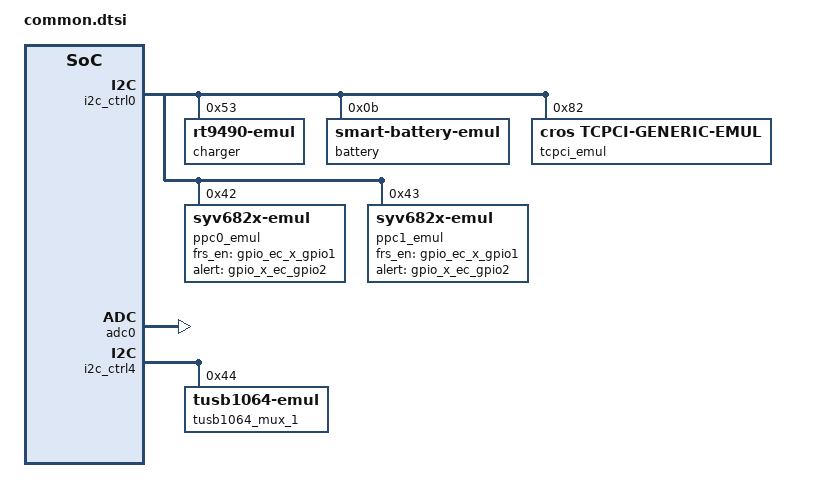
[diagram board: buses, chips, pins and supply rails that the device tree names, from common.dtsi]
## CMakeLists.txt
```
# Copyright 2022 The ChromiumOS Authors
# Use of this source code is governed by a BSD-style license that can be
# found in the LICENSE file.

cmake_minimum_required(VERSION 3.13.1)
find_package(Zephyr REQUIRED HINTS "${ZEPHYR_BASE}")
project(krabby)

add_subdirectory(${PLATFORM_EC}/zephyr/test/test_utils test_utils)

zephyr_include_directories(
	"${PLATFORM_EC_PROGRAM_DIR}/corsola/include"
	include)

target_sources(app PRIVATE
	src/stubs.c
	${PLATFORM_EC_PROGRAM_DIR}/corsola/src/ite_usbc.c
	${PLATFORM_EC_PROGRAM_DIR}/corsola/src/ite_usb_pd_policy.c
	${PLATFORM_EC_PROGRAM_DIR}/corsola/src/usb_pd_policy.c)

target_sources_ifdef(CONFIG_TEST_KRABBY
	app PRIVATE
	src/charger_workaround.c
	src/main.c
	src/power_seq.c
	src/usb_mux_init.c
	src/usbc_config.c
	${PLATFORM_EC_PROGRAM_DIR}/corsola/src/ite_charger_workaround.c)

target_sources_ifdef(CONFIG_TEST_TENTACRUEL
	app PRIVATE
	src/fake.c
	src/ppc_tentacruel.c
	src/temp_tentacruel.c
	src/fwconfig_tentacruel.c
	src/usb_mux_tentacruel.c
	${PLATFORM_EC_PROGRAM_DIR}/corsola/tentacruel/src/ppc.c
	${PLATFORM_EC_PROGRAM_DIR}/corsola/tentacruel/src/temp.c
	${PLATFORM_EC_PROGRAM_DIR}/corsola/tentacruel/src/sensor.c)

target_sources_ifdef(CONFIG_TEST_STARMIE
	app PRIVATE
	src/main.c
	src/power_seq.c
	src/temp_starmie.c
	${PLATFORM_EC_PROGRAM_DIR}/corsola/starmie/src/thermal.c
)

target_sources_ifdef(CONFIG_TEST_CHINCHOU
	app PRIVATE
	src/board_chinchou.c
	src/temp_chinchou.c
	${PLATFORM_EC_PROGRAM_DIR}/corsola/chinchou/src/board.c
	${PLATFORM_EC_PROGRAM_DIR}/corsola/chinchou/src/thermal.c
)

target_sources_ifdef(CONFIG_TEST_WUGTRIO
	app PRIVATE
	src/ppc_wugtrio.c
	src/base_detect.c
	src/motionsense_wugtrio.c
	src/temp_wugtrio.c
	${PLATFORM_EC_PROGRAM_DIR}/corsola/wugtrio/src/ppc.c
	${PLATFORM_EC_PROGRAM_DIR}/corsola/wugtrio/src/base_detect.c
	${PLATFORM_EC_PROGRAM_DIR}/corsola/wugtrio/src/alt_motionsense.c
	${PLATFORM_EC_PROGRAM_DIR}/corsola/wugtrio/src/thermal.c)

target_sources_ifdef(CONFIG_TEST_SKITTY
	app PRIVATE
	src/fake.c
	src/ppc_skitty.c
	src/temp_skitty.c
	src/led_skitty.c
	${PLATFORM_EC_PROGRAM_DIR}/corsola/skitty/src/ppc.c
	${PLATFORM_EC_PROGRAM_DIR}/corsola/skitty/src/temp.c
	${PLATFORM_EC_PROGRAM_DIR}/corsola/skitty/src/led.c)

target_sources_ifdef(CONFIG_TEST_VELUZA
	app PRIVATE
	src/fake_veluza.c
	src/ppc_veluza.c
	src/temp_veluza.c
	src/sensor_veluza.c
	${PLATFORM_EC_PROGRAM_DIR}/corsola/veluza/src/ppc.c
	${PLATFORM_EC_PROGRAM_DIR}/corsola/veluza/src/temp.c
	${PLATFORM_EC_PROGRAM_DIR}/corsola/veluza/src/sensor.c)
```

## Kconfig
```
# Copyright 2022 The ChromiumOS Authors
# Use of this source code is governed by a BSD-style license that can be
# found in the LICENSE file.

config MUX_INIT_ADC
	bool "Run the tests intended for usb_nux_init adc"
	help
	  Include stubs.c with const struct adc_t adc_channels[] function
	  into the binary to test.

choice
	prompt "select the test suite"

config TEST_KRABBY
	bool "Run the tests intended for krabby"
	help
	  Run the tests for krabby common code.

config TEST_TENTACRUEL
	bool "Run the tests intended for tentacruel"
	help
	  Include temp_tentacruel test into the binary to test temperature
	  threshold trigger current control.

config TEST_STARMIE
	bool "Run the tests intended for starmie"
	help
	  Include temp_starmie test into the binary to test temperature
	  threshold trigger current control.

config TEST_CHINCHOU
	bool "Run the tests intended for chincou"
	help
	  Include board_chinchou test into the binary to test distinguish
	  between clamshell and convertible.

config TEST_WUGTRIO
	bool "Run the tests intended for wugtrio"
	help
	  Include board_wugtrio test into the binary to test alt_motionsense.c
	  base_detect.c and ppc.c code.

config TEST_DISABLE_INLINE_CHIPSET_IN_STATE
	bool "Disable chipset_in_state inline method"
	help
	  This is used to not define chipset_in_state method as inline
	  function.

config TEST_SKITTY
	bool "Run the tests intended for skitty"
	help
	  Include skitty test into the binary to test temperature
	  threshold trigger current control.

config TEST_VELUZA
	bool "Run the tests intended for veluza"
	help
	  Include veluza test into the binary to test temperature
	  threshold trigger current control.

endchoice

source "Kconfig.zephyr"
```

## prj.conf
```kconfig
# Copyright 2022 The ChromiumOS Authors
# Use of this source code is governed by a BSD-style license that can be
# found in the LICENSE file.

CONFIG_ZTEST=y
CONFIG_ZTEST_ASSERT_VERBOSE=1
CONFIG_ZTEST_NEW_API=y

# Match emul init priority
CONFIG_I2C_INIT_PRIORITY=1
CONFIG_GPIO_INIT_PRIORITY=1

CONFIG_ASSERT=y
CONFIG_ADC=y
CONFIG_CROS_EC=y
CONFIG_EMUL=y

CONFIG_SHIMMED_TASKS=n

CONFIG_PLATFORM_EC=y
CONFIG_PLATFORM_EC_BACKLIGHT_LID=n
CONFIG_PLATFORM_EC_BATTERY_FUEL_GAUGE=y
CONFIG_PLATFORM_EC_CHARGER=y
CONFIG_PLATFORM_EC_CHARGER_SENSE_RESISTOR=10
CONFIG_PLATFORM_EC_CHARGER_SENSE_RESISTOR_AC=20
CONFIG_PLATFORM_EC_CHARGE_MANAGER=y
CONFIG_PLATFORM_EC_CHARGE_RAMP_HW=y
CONFIG_PLATFORM_EC_GPIO_INIT_PRIORITY=49
CONFIG_PLATFORM_EC_HOOKS=y
CONFIG_PLATFORM_EC_HOSTCMD=y
CONFIG_PLATFORM_EC_LID_SWITCH=y
CONFIG_PLATFORM_EC_POWERSEQ_HOST_SLEEP=y
CONFIG_PLATFORM_EC_POWER_BUTTON=y
CONFIG_PLATFORM_EC_POWER_SLEEP_FAILURE_DETECTION=y
CONFIG_PLATFORM_EC_SWITCH=n
CONFIG_PLATFORM_EC_USBC=y
CONFIG_PLATFORM_EC_USB_CHARGER=y
CONFIG_PLATFORM_EC_USB_DRP_ACC_TRYSRC=y
CONFIG_PLATFORM_EC_USB_MUX_TUSB546=y
CONFIG_PLATFORM_EC_USB_PD_DISCHARGE=y
CONFIG_PLATFORM_EC_USB_PD_DISCHARGE_PPC=y
CONFIG_PLATFORM_EC_USB_PD_VBUS_MEASURE_ADC_EACH_PORT=y
CONFIG_PLATFORM_EC_USB_POWER_DELIVERY=y
CONFIG_PLATFORM_EC_VBOOT_HASH=n

CONFIG_PLATFORM_EC_USBC_PPC=y

CONFIG_NATIVE_UART_0_ON_STDINOUT=y
```

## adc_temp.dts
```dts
<<<<<<< HEAD   (c8af73 Revert "Merge remote-tracking branch cros/main into factory-)
/* Copyright 2022 The ChromiumOS Authors
 * Use of this source code is governed by a BSD-style license that can be
 * found in the LICENSE file.
 */

#include <cros/thermistor/thermistor.dtsi>

/ {
	adc0: adc {
		compatible = "zephyr,adc-emul";
		nchannels = <1>;
		ref-internal-mv = <3300>;
		#io-channel-cells = <1>;
		status = "okay";
	};

	named-adc-channels {
		compatible = "named-adc-channels";

		adc_charger: charger {
		enum-name = "ADC_TEMP_SENSOR_CHARGER";
		io-channels = <&adc0 0>;
		};
	};

	name_temp_charger: charger {
	compatible = "cros-ec,temp-sensor-thermistor";

	thermistor = <&thermistor_rt9490>;
	adc = <&adc_charger>;
	};

	named-temp-sensors {
		compatible = "cros-ec,temp-sensors";
		temp_charger: charger {
			status = "okay";
			sensor = <&name_temp_charger>;
		};
	};
};
=======
>>>>>>> BRANCH (2c3025 PCHG: Print next event in pchg console command)
```

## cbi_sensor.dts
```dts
/* Copyright 2022 The ChromiumOS Authors
 * Use of this source code is governed by a BSD-style license that can be
 * found in the LICENSE file.
 */


/ {
	aliases {
		/*
		 * motion sense's <>_INT_EVENT is handled
		 * by alias. Using the alias, each driver creates
		 * its own <>_INT_EVENT.
		 */
		bmi3xx-int = &base_accel;
		bma4xx-int = &lid_accel;
	};
	named-i2c-ports {
	    compatible = "named-i2c-ports";

	    i2c_sensor: i2c-sensor {
		    i2c-port = <&i2c_ctrl0>;
		    enum-names = "I2C_PORT_SENSOR";
	    };
	    i2c_eeprom: i2c-eeprom {
		    i2c-port = <&i2c_ctrl0>;
		    enum-names = "I2C_PORT_EEPROM";
	    };
	};
	gpio-interrupts {
		int_base_imu: base_imu {
			handler = "base_sensor_interrupt";
		};

		int_lid_imu: lid_imu {
			handler = "lid_sensor_interrupt";
		};
	};
	/*
	 * change all underlying sensor drivers to bmi260 to have a easier way
	 * to mock interrupt handlers.
	 */
	motionsense-sensor-data {
		bmi323_data: bmi323-drv-data {
			compatible = "cros-ec,drvdata-bmi260";
			status = "okay";
		};

		bma422_data: bma422-drv-data {
			compatible = "cros-ec,drvdata-bmi260";
			status = "okay";
		};
	};

	motionsense-sensor-alt {
		alt_lid_accel: alt-lid-accel {
			compatible = "cros-ec,bmi260-accel";
			status = "okay";

			active-mask = "SENSOR_ACTIVE_S0_S3";
			location = "MOTIONSENSE_LOC_LID";
			port = <&i2c_sensor>;
			drv-data = <&bma422_data>;
			alternate-for = <&lid_accel>;
			mutex = <&lid_mutex>;
		};

		alt_base_accel: alt-base-accel {
			compatible = "cros-ec,bmi260-accel";
			status = "okay";

			active-mask = "SENSOR_ACTIVE_S0_S3";
			location = "MOTIONSENSE_LOC_BASE";
			port = <&i2c_sensor>;
			drv-data = <&bmi323_data>;
			alternate-for = <&base_accel>;
			mutex = <&base_mutex>;
		};

		alt_base_gyro: alt-base-gyro {
			compatible = "cros-ec,bmi260-gyro";
			status = "okay";

			active-mask = "SENSOR_ACTIVE_S0_S3";
			location = "MOTIONSENSE_LOC_BASE";
			port = <&i2c_sensor>;
			drv-data = <&bmi323_data>;
			alternate-for = <&base_gyro>;
			mutex = <&base_mutex>;
		};
	};
};

&i2c_ctrl0 {
	status="okay";

	cbi_eeprom: eeprom@50 {
		compatible = "atmel,at24";
		reg = <0x50>;
		size = <2048>;
		pagesize = <16>;
		address-width = <8>;
		timeout = <5>;
	};
};


&lid_accel {
	compatible = "cros-ec,bmi260-accel";
};

&base_accel {
	compatible = "cros-ec,bmi260-accel";
};

&base_gyro {
	compatible = "cros-ec,bmi260-gyro";
};

&icm42607_data {
	compatible = "cros-ec,drvdata-bmi260";
};

&lis2dw12_data {
	compatible = "cros-ec,drvdata-bmi260";
};
```

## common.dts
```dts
<<<<<<< HEAD   (c8af73 Revert "Merge remote-tracking branch cros/main into factory-)
/* Copyright 2022 The ChromiumOS Authors
 * Use of this source code is governed by a BSD-style license that can be
 * found in the LICENSE file.
 */

#include <it8xxx2_emul.dts>

/ {
	pinctrl: pinctrl {
		compatible = "ite,it8xxx2-pinctrl";
		status = "disabled";
	};

	named-i2c-ports {
		compatible = "named-i2c-ports";

		i2c_charger: charger {
			i2c-port = <&i2c_ctrl0>;
			enum-names = "I2C_PORT_CHARGER",
				"I2C_PORT_BATTERY";
		};
	};

	usbc {
		#address-cells = <1>;
		#size-cells = <0>;

		port0@0 {
			compatible = "named-usbc-port";
			status = "okay";
			reg = <0>;
			chg = <&charger>;
			tcpc = <&tcpci_emul>;
		};

		port1@1 {
			compatible = "named-usbc-port";
			status = "okay";
			reg = <1>;
			usb-mux-chain-1 {
				compatible = "cros-ec,usb-mux-chain";
				usb-muxes = <&tusb1064_mux_1>;
			};
		};
	};

	batteries {
		default_battery: lgc_ac17a8m {
			compatible = "lgc,ac17a8m", "battery-smart";
		};
	};
};

&i2c_ctrl0 {
	status="okay";

	charger: rt9490@53 {
		compatible = "zephyr,rt9490-emul";
		status = "okay";
		reg = <0x53>;
	};

	battery: sb@b {
		compatible = "zephyr,smart-battery";
		reg = <0xb>;
		cycle-count = <99>;
		version = "BATTERY_SPEC_VER_1_1_WITH_PEC";
		/* Real battery voltages are multiples of 4.4V. */
		desired-charg-volt = <5000>;
		desired-charg-cur = <1000>;
		mf-name = "LGC";
		dev-name = "AC17A8M";
	};

	tcpci_emul: tcpci_emul@82 {
		compatible = "cros,tcpci-generic-emul";
		status = "okay";
		reg = <0x82>;
	};
};

&i2c_ctrl4 {
	status="okay";

	tusb1064_mux_1: tusb1064-mux-1@44 {
		compatible = "zephyr,tusb1064-emul";
		reg = <0x44>;
		board-init = "tusb1064_mux_1_board_init";
	};
};
=======
>>>>>>> BRANCH (2c3025 PCHG: Print next event in pchg console command)
```

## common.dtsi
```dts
/* Copyright 2022 The ChromiumOS Authors
 * Use of this source code is governed by a BSD-style license that can be
 * found in the LICENSE file.
 */

#include <it8xxx2_emul.dts>

/ {
	pinctrl: pinctrl {
		compatible = "ite,it8xxx2-pinctrl";
		status = "disabled";
	};

	named-i2c-ports {
		compatible = "named-i2c-ports";

		i2c_charger: charger {
			i2c-port = <&i2c_ctrl0>;
			enum-names = "I2C_PORT_CHARGER",
				"I2C_PORT_BATTERY";
		};
	};

	usbc {
		#address-cells = <1>;
		#size-cells = <0>;

		port0@0 {
			compatible = "named-usbc-port";
			status = "okay";
			reg = <0>;
			chg = <&charger>;
			tcpc = <&tcpci_emul>;
			ppc = <&ppc0_emul>;
			usb-mux-chain-0 {
				compatible = "cros-ec,usb-mux-chain";
				usb-muxes = <&virtual_mux_0>;
			};
		};
		port0-muxes {
			virtual_mux_0: virtual-mux-0 {
				compatible = "cros-ec,usbc-mux-virtual";
			};
		};

		port1@1 {
			compatible = "named-usbc-port";
			status = "okay";
			reg = <1>;
			tcpc = <&tcpci_emul>;
			ppc = <&ppc1_emul>;
			usb-mux-chain-1 {
				compatible = "cros-ec,usb-mux-chain";
				usb-muxes = <&tusb1064_mux_1>;
			};
		};
		port1-muxes {
			virtual_mux_1: virtual-mux-1 {
				compatible = "cros-ec,usbc-mux-virtual";
			};
		};
	};

	batteries {
		default_battery: lgc_ac17a8m {
			compatible = "lgc,ac17a8m", "battery-smart";
			/**
			 * this has to be strictly lower than the desired
			 * voltage in smart battery emulator (5000mV).
			 */
			voltage_min = <4000>;
		};
	};

	named-adc-channels {
		compatible = "named-adc-channels";

		adc_vbus_c0 {
			enum-name = "ADC_VBUS_C0";
			io-channels = <&adc0 0>;
			mul = <10>;
		};
		adc_board_id0 {
			enum-name = "ADC_BOARD_ID_0";
			io-channels = <&adc0 1>;
		};
		adc_board_id1 {
			enum-name = "ADC_BOARD_ID_1";
			io-channels = <&adc0 2>;
		};
		adc_vbus_c1 {
			enum-name = "ADC_VBUS_C1";
			io-channels = <&adc0 7>;
			mul = <10>;
		};
		adc_charger: charger {
			enum-name = "ADC_TEMP_SENSOR_CHARGER";
			io-channels = <&adc0 5>;
		};
	};

	power_signal_list: power-signal-list {
		compatible = "mediatek,mt8186-power-signal-list";

		ap_in_rst {
			power-enum-name = "AP_IN_RST";
			power-gpio-pin = <&ap_sysrst_odl_r>;
		};
		ap_in_s3 {
			power-enum-name = "AP_IN_S3";
			power-gpio-pin = <&ap_in_sleep_l>;
		};
		ap_wdt_asserted {
			power-enum-name = "AP_WDT_ASSERTED";
			power-gpio-pin = <&ap_ec_wdtrst_l>;
		};
		ap_warm_rst_req {
			power-enum-name = "AP_WARM_RST_REQ";
			power-gpio-pin = <&ap_ec_warm_rst_req>;
		};
	};
};

&i2c_ctrl0 {
	status="okay";

	charger: rt9490@53 {
		compatible = "zephyr,rt9490-emul";
		status = "okay";
		reg = <0x53>;
	};

	battery: sb@b {
		compatible = "zephyr,smart-battery-emul";
		reg = <0xb>;
		cycle-count = <99>;
		version = "BATTERY_SPEC_VER_1_1_WITH_PEC";
		/* Real battery voltages are multiples of 4.4V. */
		desired-charg-volt = <5000>;
		desired-charg-cur = <1000>;
		mf-name = "LGC";
		dev-name = "AC17A8M";
	};

	tcpci_emul: tcpci_emul@82 {
		compatible = "cros,tcpci-generic-emul";
		status = "okay";
		reg = <0x82>;
	};

	ppc0_emul: syv682x@42 {
		compatible = "zephyr,syv682x-emul";
		status = "okay";
		reg = <0x42>;
		frs_en_gpio = <&gpio_ec_x_gpio1>;
		alert_gpio = <&gpio_x_ec_gpio2>;
	};

	ppc1_emul: syv682x@43 {
		compatible = "zephyr,syv682x-emul";
		status = "okay";
		reg = <0x43>;
		/*
		 * the gpio pins are intentionally reused in both ppc emuls, to
		 * avoid handling different frs-en pin names on krabby and
		 * tentacruel.
		 */
		frs_en_gpio = <&gpio_ec_x_gpio1>;
		alert_gpio = <&gpio_x_ec_gpio2>;
	};
};

&adc0 {
	status = "okay";
};

&i2c_ctrl4 {
	status="okay";

	tusb1064_mux_1: tusb1064-mux-1@44 {
		compatible = "zephyr,tusb1064-emul";
		reg = <0x44>;
		board-init = "tusb1064_mux_1_board_init";
	};
};
```

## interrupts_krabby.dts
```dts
/* Copyright 2022 The ChromiumOS Authors
 * Use of this source code is governed by a BSD-style license that can be
 * found in the LICENSE file.
 */

/ {
	aliases {
		int-wp = &int_wp;
	};

	gpio-interrupts {
		compatible = "cros-ec,gpio-interrupts";

		int_power_button: power_button {
			irq-pin = <&power_button_l>;
			flags = <GPIO_INT_EDGE_BOTH>;
			handler = "fake_interrupt";
		};
		int_volume_up: volume_up {
			irq-pin = <&volume_up_l>;
			flags = <GPIO_INT_EDGE_BOTH>;
			handler = "fake_interrupt";
		};
		int_volume_down: volume_down {
			irq-pin = <&volume_down_l>;
			flags = <GPIO_INT_EDGE_BOTH>;
			handler = "fake_interrupt";
		};
		int_lid_open: lid_open {
			irq-pin = <&lid_open>;
			flags = <GPIO_INT_EDGE_BOTH>;
			handler = "fake_interrupt";
		};
		int_warm_rst: warm_rst {
			irq-pin = <&ap_ec_warm_rst_req>;
			flags = <GPIO_INT_EDGE_RISING>;
			handler = "fake_interrupt";
		};
		int_ap_in_sleep: ap_in_sleep {
			irq-pin = <&ap_in_sleep_l>;
			flags = <GPIO_INT_EDGE_BOTH>;
			handler = "fake_interrupt";
		};
		int_ap_in_rst: ap_in_rst {
			irq-pin = <&ap_sysrst_odl_r>;
			flags = <GPIO_INT_EDGE_BOTH>;
			handler = "fake_interrupt";
		};
		int_ap_wdtrst: ap_wdtrst {
			irq-pin = <&ap_ec_wdtrst_l>;
			flags = <GPIO_INT_EDGE_FALLING>;
			handler = "fake_interrupt";
		};
		int_tablet_mode: tablet_mode {
			irq-pin = <&tablet_mode_l>;
			flags = <GPIO_INT_EDGE_BOTH>;
			handler = "fake_interrupt";
		};
		int_base_imu: base_imu {
			irq-pin = <&base_imu_int_l>;
			flags = <GPIO_INT_EDGE_FALLING>;
			handler = "fake_interrupt";
		};
		int_lid_imu: lid_imu {
			irq-pin = <&lid_accel_int_l>;
			flags = <GPIO_INT_EDGE_FALLING>;
			handler = "fake_interrupt";
		};
		int_ac_present: ac_present {
			irq-pin = <&ac_present>;
			flags = <GPIO_INT_EDGE_BOTH>;
			handler = "fake_interrupt";
		};
		int_usba: usba {
			irq-pin = <&gpio_ap_xhci_init_done>;
			flags = <GPIO_INT_EDGE_BOTH>;
			handler = "fake_interrupt";
		};
		int_wp: wp {
			irq-pin = <&ec_flash_wp_odl>;
			flags = <GPIO_INT_EDGE_BOTH>;
			handler = "fake_interrupt";
		};
		int_spi0_cs: spi0_cs {
			irq-pin = <&spi0_cs>;
			flags = <GPIO_INT_EDGE_BOTH>;
			handler = "fake_interrupt";
		};
		int_x_ec_gpio2: x_ec_gpio2 {
			irq-pin = <&gpio_x_ec_gpio2>;
			flags = <GPIO_INT_EDGE_BOTH>;
			handler = "fake_interrupt";
		};
		int_usb_c0_ppc_bc12: usb_c0_ppc_bc12 {
			irq-pin = <&usb_c0_ppc_bc12_int_odl>;
			flags = <GPIO_INT_EDGE_FALLING>;
			handler = "fake_interrupt";
		};
		int_usb_c1_bc12_charger: usb_c1_bc12_charger {
			irq-pin = <&usb_c1_bc12_charger_int_odl>;
			flags = <GPIO_INT_EDGE_FALLING>;
			handler = "fake_interrupt";
		};
	};
};
```

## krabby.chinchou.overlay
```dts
/* Copyright 2023 The ChromiumOS Authors
 * Use of this source code is governed by a BSD-style license that can be
 * found in the LICENSE file.
 */

#include "common.dtsi"
#include "../program/corsola/ite_gpio.dtsi"
#include "../program/corsola/ite_interrupts.dtsi"
#include "../program/corsola/power_signal.dtsi"
#include "../program/corsola/chinchou/thermistor.dtsi"
#include <cros/thermistor/thermistor.dtsi>

/* remove pinctrl to avoid pull in too many unwanted dependency */
/delete-node/ &pinctrl;

/delete-node/ &int_usb_c0_ppc_bc12;
/delete-node/ &int_volume_up;
/delete-node/ &int_volume_down;
/delete-node/ &int_tablet_mode;
/delete-node/ &int_xhci;
/delete-node/ &int_wp;
/delete-node/ &int_spi0_cs;
/delete-node/ &int_x_ec_gpio2;
/delete-node/ &int_ccd_mode_odl;
/delete-node/ &int_base_imu;
/delete-node/ &int_lid_imu;

&{/aliases} {
	/delete-property/ int-wp;
};

/ {
	aliases {
		bma4xx-int = &lid_accel;
	};

	charger_bc12_port1: charger {
		compatible = "cros-ec,temp-sensor-thermistor";

		thermistor = <&thermistor_rt9490>;
		adc = <&adc_charger>;
	};

	named-temp-sensors {
		compatible = "cros-ec,temp-sensors";
		temp_charger: charger {
			status = "okay";
			sensor = <&charger_bc12_port1>;
		};
	};

	named-gpios {
		en_pp4200_s5: en-pp4200-s5 {
			gpios = <&gpiod 2 GPIO_OUTPUT_LOW>;
		};

		pg_pp4200_s5_od: pg-pp4200-s5-od {
			gpios = <&gpioe 1 GPIO_INPUT>;
			enum-name = "GPIO_PG_PP4200_S5_OD";
		};

		pmic_ec_resetb: pmic-ec-resetb {
			gpios = <&gpioh 3 (GPIO_INPUT | GPIO_VOLTAGE_1P8 |
					GPIO_ACTIVE_LOW)>;
			enum-name = "GPIO_PMIC_EC_RESETB";
		};
	};

	power_signal_list: power-signal-list {
		 compatible = "mediatek,mt8188-power-signal-list";

		 pg_pp4200_s5 {
			power-enum-name = "PG_PP4200_S5";
			power-gpio-pin = <&pg_pp4200_s5_od>;
		};
		 pmic_ap_reset {
			power-enum-name = "PMIC_AP_RST";
			power-gpio-pin = <&pmic_ec_resetb>;
		};
	};

	/delete-node/ unused-pins;
	
	gpio-interrupts {
		int_base_imu: base_imu {
			irq-pin = <&base_imu_int_l>;
			flags = <GPIO_INT_EDGE_FALLING>;
			handler = "motion_interrupt";
		};
	};

	motionsense-sensor-data {
		bma4xx_data: bma4xx-drv-data {
			compatible = "cros-ec,drvdata-bma4xx";
			status = "okay";
		};
		bmi3xx_data: bmi3xx-drv-data {
			compatible = "cros-ec,drvdata-bmi3xx";
			status = "okay";
		};
	};

	motionsense-sensor {
		lid_accel: lid-accel {
			compatible = "cros-ec,bma4xx";
			status = "okay";

			active-mask = "SENSOR_ACTIVE_S0_S3";
			location = "MOTIONSENSE_LOC_LID";
			drv-data = <&bma4xx_data>;
		};

		base_accel: base-accel {
			compatible = "cros-ec,bmi3xx-accel";
			status = "okay";

			active-mask = "SENSOR_ACTIVE_S0_S3";
			location = "MOTIONSENSE_LOC_BASE";
			drv-data = <&bmi3xx_data>;
		};

		base_gyro: base-gyro {
			compatible = "cros-ec,bmi3xx-gyro";
			status = "okay";

			active-mask = "SENSOR_ACTIVE_S0_S3";
			location = "MOTIONSENSE_LOC_BASE";
			drv-data = <&bmi3xx_data>;
		};
	};
	
	Chinchou-fw-config {
		compatible = "cros-ec,cbi-fw-config";

		/*
		 * FW_CONFIG field to indicate the device is clamshell
		 * or convertible.
		 */
		form_factor {
			enum-name = "FORM_FACTOR";
			start = <13>;
			size = <3>;

			convertible {
				compatible = "cros-ec,cbi-fw-config-value";
				enum-name = "CONVERTIBLE";
				value = <1>;
			};
			clamshell {
				compatible = "cros-ec,cbi-fw-config-value";
				enum-name = "CLAMSHELL";
				value = <0>;
			};
		};
	};
	
	/* Chinchou-specific ssfc fields. */
	chinchou-ssfc {
		compatible = "cros-ec,cbi-ssfc";

		/* SSFC field to identify BASE motion sensor. */
		base-sensor {
			enum-name = "BASE_SENSOR";
			size = <3>;

			base_sensor_0: bmi323 {
				compatible = "cros-ec,cbi-ssfc-value";
				status = "okay";
				value = <1>;
				default;
			};

			base_sensor_1: lsm6dsm {
				compatible = "cros-ec,cbi-ssfc-value";
				status = "okay";
				value = <2>;
			};
		};

		/* SSFC field to identify LID motion sensor. */
		lid-sensor {
			enum-name = "LID_SENSOR";
			size = <3>;

			lid_sensor_0: bma422 {
				compatible = "cros-ec,cbi-ssfc-value";
				status = "okay";
				value = <1>;
				default;
			};
			lid_sensor_1: lis2dw12 {
				compatible = "cros-ec,cbi-ssfc-value";
				status = "okay";
				value = <2>;
			};
		};
	};

	named-i2c-ports {
		compatible = "named-i2c-ports";

		battery {
			i2c-port = <&i2c0>;
			remote-port = <1>;
			enum-names = "I2C_PORT_BATTERY",
				"I2C_PORT_VIRTUAL_BATTERY";
		};

		i2c_charger: charger {
			i2c-port = <&i2c0>;
			enum-names = "I2C_PORT_CHARGER",
				"I2C_PORT_EEPROM";
		};
	};

	motionsense-sensor-alt {
		alt_lid_accel: alt-lid-accel {
			compatible = "cros-ec,lis2dw12";
			status = "okay";

			active-mask = "SENSOR_ACTIVE_S0_S3";
			location = "MOTIONSENSE_LOC_LID";
		};

		alt_base_accel: alt-base-accel {
			compatible = "cros-ec,lsm6dsm-accel";
			status = "okay";

			active-mask = "SENSOR_ACTIVE_S0_S3";
			location = "MOTIONSENSE_LOC_BASE";
		};

		alt_base_gyro: alt-base-gyro {
			compatible = "cros-ec,lsm6dsm-gyro";
			status = "okay";

			active-mask = "SENSOR_ACTIVE_S0_S3";
			location = "MOTIONSENSE_LOC_BASE";
		};
	};

	motionsense-sensor-info {
		compatible = "cros-ec,motionsense-sensor-info";

		sensor-irqs = <&int_base_imu>;
	};
};

/* open-drain is not supported in gpio emul, re-config to push-pull  */
&ec_pmic_en_odl {
	gpios = <&gpiod 0 (GPIO_OUTPUT_HIGH | GPIO_INPUT | GPIO_VOLTAGE_1P8)>;
};
&sys_rst_odl {
	gpios = <&gpiog 1 GPIO_OUTPUT_LOW>;
};

/* set default gpio-emul state */
&power_button_l {
	gpios = <&gpioe 4 (GPIO_INPUT | GPIO_PULL_UP)>;
};

&i2c0 {
	status = "okay";

	cbi_eeprom: eeprom@50 {
		compatible = "atmel,at24";
		reg = <0x50>;
		size = <2048>;
		pagesize = <16>;
		address-width = <8>;
		timeout = <5>;
	};
};
```

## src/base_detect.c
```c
/* Copyright 2024 The ChromiumOS Authors
 * Use of this source code is governed by a BSD-style license that can be
 * found in the LICENSE file.
 */

#include "ap_power/ap_power_events.h"
#include "base_state.h"
#include "chipset.h"
#include "console.h"
#include "gpio/gpio_int.h"
#include "hooks.h"
#include "host_command.h"
#include "power.h"
#include "tablet_mode.h"
#include "task.h"

#include <zephyr/drivers/gpio.h>
#include <zephyr/drivers/gpio/gpio_emul.h>
#include <zephyr/kernel.h>
#include <zephyr/ztest.h>

#define CPRINTS(format, args...) cprints(CC_SYSTEM, format, ##args)
#define CPRINTF(format, args...) cprintf(CC_SYSTEM, format, ##args)

bool is_held;

static void set_signal_state(enum power_state state)
{
	const struct gpio_dt_spec *ap_ec_sysrst_odl =
		gpio_get_dt_spec(GPIO_AP_EC_SYSRST_ODL);
	const struct gpio_dt_spec *ap_in_sleep_l =
		gpio_get_dt_spec(GPIO_AP_IN_SLEEP_L);

	if (state == POWER_S0) {
		gpio_emul_input_set(ap_in_sleep_l->port, ap_in_sleep_l->pin, 1);
		gpio_emul_input_set(ap_ec_sysrst_odl->port,
				    ap_ec_sysrst_odl->pin, 1);
	}

	/* reset is_held flag */
	is_held = false;
	task_wake(TASK_ID_CHIPSET);
	k_sleep(K_SECONDS(1));
}

static void *base_detect_setup(void)
{
	/* G3 -> S0 */
	power_set_state(POWER_G3);
	set_signal_state(POWER_S0);

	return NULL;
}

ZTEST_SUITE(baes_detect, NULL, base_detect_setup, NULL, NULL, NULL);

ZTEST(baes_detect, test_base_detect_startup)
{
	const struct device *pogo_prsnt_gpio = DEVICE_DT_GET(
		DT_GPIO_CTLR(DT_NODELABEL(pogo_prsnt_int_l), gpios));
	const gpio_port_pins_t pogo_prsnt_pin =
		DT_GPIO_PIN(DT_NODELABEL(pogo_prsnt_int_l), gpios);

	/* Verify power on when keyboard is plugged in or out */
	zassert_ok(gpio_emul_input_set(pogo_prsnt_gpio, pogo_prsnt_pin, 0),
		   NULL);
	k_sleep(K_MSEC(100));
	hook_notify(HOOK_INIT);
	ap_power_ev_send_callbacks(AP_POWER_STARTUP);
	zassert_equal(0, tablet_get_mode(), NULL);

	zassert_ok(gpio_emul_input_set(pogo_prsnt_gpio, pogo_prsnt_pin, 1),
		   NULL);
	k_sleep(K_MSEC(100));
	hook_notify(HOOK_INIT);
	ap_power_ev_send_callbacks(AP_POWER_STARTUP);
	k_sleep(K_MSEC(100));
	zassert_equal(1, tablet_get_mode(), NULL);
}

ZTEST(baes_detect, test_base_detect_shutdown)
{
	/* Verify shutdown when keyboard is plugged in or out */
	hook_notify(HOOK_INIT);
	ap_power_ev_send_callbacks(AP_POWER_SHUTDOWN);
	zassert_equal(1, tablet_get_mode(), NULL);
}

ZTEST(baes_detect, test_base_detect_interrupt)
{
	const struct device *pogo_prsnt_gpio = DEVICE_DT_GET(
		DT_GPIO_CTLR(DT_NODELABEL(pogo_prsnt_int_l), gpios));
	const gpio_port_pins_t pogo_prsnt_pin =
		DT_GPIO_PIN(DT_NODELABEL(pogo_prsnt_int_l), gpios);

	/*
	 * Verify that an interrupt is triggered when the keyboard is
	 * inserted or removed
	 */
	hook_notify(HOOK_INIT);
	zassert_ok(gpio_emul_input_set(pogo_prsnt_gpio, pogo_prsnt_pin, 0),
		   NULL);
	k_sleep(K_MSEC(100));
	zassert_ok(gpio_emul_input_set(pogo_prsnt_gpio, pogo_prsnt_pin, 1),
		   NULL);
	k_sleep(K_MSEC(400));
	zassert_equal(1, tablet_get_mode(), NULL);

	zassert_ok(gpio_emul_input_set(pogo_prsnt_gpio, pogo_prsnt_pin, 0),
		   NULL);
	k_sleep(K_MSEC(400));
	zassert_equal(0, tablet_get_mode(), NULL);
}
```

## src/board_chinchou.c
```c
/* Copyright 2023 The ChromiumOS Authors
 * Use of this source code is governed by a BSD-style license that can be
 * found in the LICENSE file.
 */

#include "cros_board_info.h"
#include "cros_cbi.h"
#include "gpio_signal.h"
#include "hooks.h"
#include "tablet_mode.h"
#include "zephyr/kernel.h"

#include <zephyr/drivers/gpio/gpio_emul.h>
#include <zephyr/fff.h>
#include <zephyr/ztest.h>

/* SSFC field defined in zephyr/program/corsola/cbi_steelix.dts */
#define SSFC_BASE_MAIN_SENSOR (0x1)
#define SSFC_BASE_ALT_SENSOR (0x1 << 1)

#define SSFC_LID_MAIN_SENSOR (0x1 << 3)
#define SSFC_LID_ALT_SENSOR (0x1 << 4)

#define SSFC_MAIM_SENSORS (SSFC_LID_MAIN_SENSOR | SSFC_BASE_MAIN_SENSOR)
#define SSFC_ALT_SENSORS (SSFC_LID_ALT_SENSOR | SSFC_BASE_ALT_SENSOR)

FAKE_VALUE_FUNC(int, cbi_get_ssfc, uint32_t *);
FAKE_VALUE_FUNC(int, cros_cbi_get_fw_config, enum cbi_fw_config_field_id,
		uint32_t *);

static void reset(void)
{
	/* Re-initialize CBI */
	cros_cbi_ec_init();

	/* Re-initialize sensors and board config */
	hook_notify(HOOK_INIT);
}

static bool clamshell_mode;

static int mock_cros_cbi_get_fw_config(enum cbi_fw_config_field_id field_id,
				       uint32_t *value)
{
	if (field_id != FORM_FACTOR) {
		return -EINVAL;
	}

	*value = clamshell_mode ? CLAMSHELL : CONVERTIBLE;

	return 0;
}

static void chinchou_before(void *fixture)
{
	RESET_FAKE(cbi_get_ssfc);
	RESET_FAKE(cros_cbi_get_fw_config);
	clamshell_mode = false;
}

static void *clamshell_setup(void)
{
	int val;

	cros_cbi_get_fw_config_fake.custom_fake = mock_cros_cbi_get_fw_config;
	clamshell_mode = true;
	reset();

	/* Check if CBI write worked. */
	zassert_ok(cros_cbi_get_fw_config(FORM_FACTOR, &val), NULL);
	zassert_equal(CLAMSHELL, val, "val=%d", val);

	return NULL;
}

ZTEST_SUITE(chinchou_clamshell, NULL, clamshell_setup, chinchou_before, NULL,
	    NULL);

ZTEST(chinchou_clamshell, test_gmr_tablet_switch_disabled)
{
	const struct device *tablet_mode_gpio =
		DEVICE_DT_GET(DT_GPIO_CTLR(DT_NODELABEL(tablet_mode_l), gpios));
	const gpio_port_pins_t tablet_mode_pin =
		DT_GPIO_PIN(DT_NODELABEL(tablet_mode_l), gpios);

	/* Verify gmr_tablet_switch is disabled, by checking the side effects
	 * of calling tablet_set_mode, and setting tablet_mode_l.
	 */
	zassert_ok(gpio_emul_input_set(tablet_mode_gpio, tablet_mode_pin, 0),
		   NULL);
	k_sleep(K_MSEC(100));
	tablet_set_mode(1, TABLET_TRIGGER_LID);
	zassert_equal(0, tablet_get_mode(), NULL);
	zassert_ok(gpio_emul_input_set(tablet_mode_gpio, tablet_mode_pin, 1),
		   NULL);
	k_sleep(K_MSEC(100));
	tablet_set_mode(0, TABLET_TRIGGER_LID);
	zassert_equal(0, tablet_get_mode(), NULL);
	zassert_ok(gpio_emul_input_set(tablet_mode_gpio, tablet_mode_pin, 0),
		   NULL);
	k_sleep(K_MSEC(100));
	tablet_set_mode(1, TABLET_TRIGGER_LID);
	zassert_equal(0, tablet_get_mode(), NULL);
}

static int interrupt_count;

ZTEST(chinchou_clamshell, test_base_imu_irq_disabled)
{
	const struct device *base_imu_gpio = DEVICE_DT_GET(
		DT_GPIO_CTLR(DT_NODELABEL(base_imu_int_l), gpios));
	const gpio_port_pins_t base_imu_pin =
		DT_GPIO_PIN(DT_NODELABEL(base_imu_int_l), gpios);

	/* Verify base_imu_irq is disabled. */
	interrupt_count = 0;
	zassert_ok(gpio_emul_input_set(base_imu_gpio, base_imu_pin, 1), NULL);
	k_sleep(K_MSEC(100));
	zassert_ok(gpio_emul_input_set(base_imu_gpio, base_imu_pin, 0), NULL);
	k_sleep(K_MSEC(100));

	zassert_equal(interrupt_count, 0, "interrupt_count=%d",
		      interrupt_count);
}

static int interrupt_id;

void bmi3xx_interrupt(enum gpio_signal signal)
{
	interrupt_id = 1;
}

void lsm6dsm_interrupt(enum gpio_signal signal)
{
	interrupt_id = 2;
}

static int ssfc_data;
static int cbi_get_ssfc_mock(uint32_t *ssfc)
{
	*ssfc = ssfc_data;
	return 0;
}

static void *alt_sensor_use_setup(void)
{
	const struct device *wp_gpio =
		DEVICE_DT_GET(DT_GPIO_CTLR(DT_ALIAS(gpio_wp), gpios));
	const gpio_port_pins_t wp_pin = DT_GPIO_PIN(DT_ALIAS(gpio_wp), gpios);

	/* Make sure that write protect is disabled */
	zassert_ok(gpio_emul_input_set(wp_gpio, wp_pin, 1), NULL);
	/* Set SSFC to enable alt sensors. */
	cbi_get_ssfc_fake.custom_fake = cbi_get_ssfc_mock;
	ssfc_data = SSFC_ALT_SENSORS;
	/* Run init hooks to initialize cbi. */
	cros_cbi_get_fw_config_fake.custom_fake = mock_cros_cbi_get_fw_config;
	reset();

	return NULL;
}

ZTEST_SUITE(alt_sensor_use, NULL, alt_sensor_use_setup, chinchou_before, NULL,
	    NULL);

ZTEST(alt_sensor_use, test_alt_sensor_use)
{
	const struct device *base_imu_gpio = DEVICE_DT_GET(
		DT_GPIO_CTLR(DT_NODELABEL(base_imu_int_l), gpios));
	const gpio_port_pins_t base_imu_pin =
		DT_GPIO_PIN(DT_NODELABEL(base_imu_int_l), gpios);

	zassert_ok(gpio_emul_input_set(base_imu_gpio, base_imu_pin, 1), NULL);
	k_sleep(K_MSEC(100));
	zassert_ok(gpio_emul_input_set(base_imu_gpio, base_imu_pin, 0), NULL);
	k_sleep(K_MSEC(100));

	zassert_equal(interrupt_id, 2, "interrupt_id=%d", interrupt_id);
}

static void *alt_sensor_no_use_setup(void)
{
	const struct device *wp_gpio =
		DEVICE_DT_GET(DT_GPIO_CTLR(DT_ALIAS(gpio_wp), gpios));
	const gpio_port_pins_t wp_pin = DT_GPIO_PIN(DT_ALIAS(gpio_wp), gpios);

	/* Make sure that write protect is disabled */
	zassert_ok(gpio_emul_input_set(wp_gpio, wp_pin, 1), NULL);
	/* Set SSFC to disable alt sensors. */
	cbi_get_ssfc_fake.custom_fake = cbi_get_ssfc_mock;
	ssfc_data = SSFC_MAIM_SENSORS;
	/* Run init hooks to initialize cbi. */
	cros_cbi_get_fw_config_fake.custom_fake = mock_cros_cbi_get_fw_config;
	reset();

	return NULL;
}

ZTEST_SUITE(alt_sensor_no_use, NULL, alt_sensor_no_use_setup, chinchou_before,
	    NULL, NULL);

ZTEST(alt_sensor_no_use, test_alt_sensor_no_use)
{
	const struct device *base_imu_gpio = DEVICE_DT_GET(
		DT_GPIO_CTLR(DT_NODELABEL(base_imu_int_l), gpios));
	const gpio_port_pins_t base_imu_pin =
		DT_GPIO_PIN(DT_NODELABEL(base_imu_int_l), gpios);

	zassert_ok(gpio_emul_input_set(base_imu_gpio, base_imu_pin, 1), NULL);
	k_sleep(K_MSEC(100));
	zassert_ok(gpio_emul_input_set(base_imu_gpio, base_imu_pin, 0), NULL);
	k_sleep(K_MSEC(100));

	zassert_equal(interrupt_id, 1, "interrupt_id=%d", interrupt_id);
}
```

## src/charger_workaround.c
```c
/* Copyright 2022 The ChromiumOS Authors
 * Use of this source code is governed by a BSD-style license that can be
 * found in the LICENSE file.
 */

#include "charger.h"
#include "driver/charger/rt9490.h"
#include "emul/emul_rt9490.h"
#include "hooks.h"
#include "i2c.h"
#include "system.h"

#include <zephyr/devicetree.h>
#include <zephyr/drivers/emul.h>
#include <zephyr/fff.h>
#include <zephyr/ztest.h>

DEFINE_FFF_GLOBALS;

FAKE_VALUE_FUNC(int, board_get_version);

const struct emul *emul = EMUL_DT_GET(DT_NODELABEL(charger));

static bool ibus_adc_workaround_called(void)
{
	return rt9490_emul_peek_reg(emul, 0x52) == 0xC4;
}

static bool i2c_speed_workaround_called(void)
{
	return rt9490_emul_peek_reg(emul, 0x71) == 0x22;
}

static bool eoc_deglitch_workaround_called(void)
{
	return !(rt9490_emul_peek_reg(emul, RT9490_REG_ADD_CTRL0) &
		 RT9490_TD_EOC);
}

static bool disable_safety_timer_called(void)
{
	return rt9490_emul_peek_reg(emul, RT9490_REG_SAFETY_TMR_CTRL) ==
	       (RT9490_EN_TRICHG_TMR | RT9490_EN_PRECHG_TMR |
		RT9490_EN_FASTCHG_TMR);
}

ZTEST(charger_workaround, test_board_version_0)
{
	board_get_version_fake.return_val = 0;

	hook_notify(HOOK_INIT);
	zassert_true(ibus_adc_workaround_called(), NULL);
	zassert_true(i2c_speed_workaround_called(), NULL);
	zassert_false(eoc_deglitch_workaround_called(), NULL);
	zassert_true(disable_safety_timer_called(), NULL);
}

ZTEST(charger_workaround, test_board_version_1)
{
	board_get_version_fake.return_val = 1;

	hook_notify(HOOK_INIT);
	zassert_false(ibus_adc_workaround_called(), NULL);
	zassert_true(i2c_speed_workaround_called(), NULL);
	zassert_true(eoc_deglitch_workaround_called(), NULL);
	zassert_true(disable_safety_timer_called(), NULL);
}

ZTEST(charger_workaround, test_board_version_2)
{
	board_get_version_fake.return_val = 2;

	hook_notify(HOOK_INIT);
	zassert_false(ibus_adc_workaround_called(), NULL);
	zassert_true(i2c_speed_workaround_called(), NULL);
	zassert_false(eoc_deglitch_workaround_called(), NULL);
	zassert_false(disable_safety_timer_called(), NULL);
}

ZTEST(charger_workaround, test_board_version_3)
{
	board_get_version_fake.return_val = 3;

	hook_notify(HOOK_INIT);
	zassert_false(ibus_adc_workaround_called(), NULL);
	zassert_false(i2c_speed_workaround_called(), NULL);
	zassert_false(eoc_deglitch_workaround_called(), NULL);
	zassert_false(disable_safety_timer_called(), NULL);
}

static void charge_workaround_before(void *fixture)
{
	RESET_FAKE(board_get_version);
	rt9490_emul_reset_regs(emul);
}

ZTEST_SUITE(charger_workaround, NULL, NULL, charge_workaround_before, NULL,
	    NULL);
```

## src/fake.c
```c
/* Copyright 2022 The ChromiumOS Authors
 * Use of this source code is governed by a BSD-style license that can be
 * found in the LICENSE file.
 */

#include "gpio_signal.h"

#include <zephyr/fff.h>

/* LCOV_EXCL_START */

FAKE_VOID_FUNC(button_interrupt, enum gpio_signal);
FAKE_VOID_FUNC(chipset_reset_request_interrupt, enum gpio_signal);
FAKE_VOID_FUNC(power_signal_interrupt, enum gpio_signal);
FAKE_VOID_FUNC(chipset_warm_reset_interrupt, enum gpio_signal);
FAKE_VOID_FUNC(chipset_watchdog_interrupt, enum gpio_signal);
FAKE_VOID_FUNC(xhci_interrupt, enum gpio_signal);
FAKE_VOID_FUNC(switch_interrupt, enum gpio_signal);
FAKE_VOID_FUNC(spi_event, enum gpio_signal);
FAKE_VOID_FUNC(ccd_interrupt, enum gpio_signal);
FAKE_VOID_FUNC(x_ec_interrupt, enum gpio_signal);

/* LCOV_EXCL_STOP */
```

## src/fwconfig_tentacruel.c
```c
/* Copyright 2022 The ChromiumOS Authors
 * Use of this source code is governed by a BSD-style license that can be
 * found in the LICENSE file.
 */

#include "cros_board_info.h"
#include "cros_cbi.h"
#include "gpio_signal.h"
#include "hooks.h"
#include "motion_sense.h"
#include "tablet_mode.h"
#include "zephyr/kernel.h"

#include <zephyr/drivers/gpio/gpio_emul.h>
#include <zephyr/fff.h>
#include <zephyr/ztest.h>

#define BOARD_CLAMSHELL (0 << 7)
#define BOARD_CONVERTIBLE (1 << 7)
#define MAIN_BASE_SENSOR (1 << 8)
#define ALT_BASE_SENSOR (2 << 8)
#define MAIN_LID_SENSOR (1 << 10)
#define ALT_LID_SENSOR (2 << 10)

#define MAIN_FWCONFIG (BOARD_CONVERTIBLE | MAIN_BASE_SENSOR | MAIN_LID_SENSOR)
#define ALT_FWCONFIG (BOARD_CONVERTIBLE | ALT_BASE_SENSOR | ALT_LID_SENSOR)

FAKE_VALUE_FUNC(int, cros_cbi_get_fw_config, enum cbi_fw_config_field_id,
		uint32_t *);

static int base_interrupt_id;
static int lid_interrupt_id;
static int interrupt_count;

extern uint8_t base_is_none;
extern uint8_t lid_is_none;

static void teardown(void *unused)
{
	/* Reset board globals */
	base_is_none = false;
	lid_is_none = false;
}

static int32_t fake_form_factor = -1;
static int32_t fake_base_sensor = -1;
static int32_t fake_lid_sensor = -1;

static int mock_cros_cbi_get_fw_config(enum cbi_fw_config_field_id field_id,
				       uint32_t *value)
{
	switch (field_id) {
	case FORM_FACTOR:
		if (fake_form_factor < 0) {
			return -EINVAL;
		}
		*value = fake_form_factor;
		return 0;
	case BASE_SENSOR:
		if (fake_base_sensor < 0) {
			return -EINVAL;
		}
		*value = fake_base_sensor;
		return 0;
	case LID_SENSOR:
		if (fake_lid_sensor < 0) {
			return -EINVAL;
		}
		*value = fake_lid_sensor;
		return 0;
	default:
		return -EINVAL;
	}
}

static void clamshell_reset(void *fixture)
{
	uint32_t val;

	RESET_FAKE(cros_cbi_get_fw_config);

	base_interrupt_id = 0;
	lid_interrupt_id = 0;
	interrupt_count = 0;

	cros_cbi_get_fw_config_fake.custom_fake = mock_cros_cbi_get_fw_config;

	fake_form_factor = CLAMSHELL;
	fake_base_sensor = BASE_NONE;
	fake_lid_sensor = LID_NONE;

	/* Run init hooks to initialize cbi. */
	hook_notify(HOOK_INIT);

	/* Check if CBI write worked. */
	zassert_ok(cros_cbi_get_fw_config(FORM_FACTOR, &val), NULL);
	zassert_equal(CLAMSHELL, val, "val=%d", val);
	zassert_ok(cros_cbi_get_fw_config(BASE_SENSOR, &val), NULL);
	zassert_equal(BASE_NONE, val, "val=%d", val);
	zassert_ok(cros_cbi_get_fw_config(LID_SENSOR, &val), NULL);
	zassert_equal(LID_NONE, val, "val=%d", val);
}

ZTEST_SUITE(tentacruel_clamshell, NULL, NULL, clamshell_reset, NULL, teardown);

static void main_sensor_reset(void *fixture)
{
	uint32_t val;

	RESET_FAKE(cros_cbi_get_fw_config);

	base_interrupt_id = 0;
	lid_interrupt_id = 0;
	interrupt_count = 0;

	cros_cbi_get_fw_config_fake.custom_fake = mock_cros_cbi_get_fw_config;

	fake_form_factor = CONVERTIBLE;
	fake_base_sensor = BASE_ICM42607;
	fake_lid_sensor = LID_LIS2DWLTR;

	/* zephyr/program/corsola/tentacruel/src/sensor.c will set the sensor
	 * count to 0 if the CBI fw config is set to CLAMSHELL, but there's no
	 * way to recover the previous sensor count. Before calling hook_notify,
	 * we should reset the sensor count manually.
	 */
	motion_sensor_count = DT_CHILD_NUM_STATUS_OKAY(SENSOR_NODE);

	/* Run init hooks to initialize cbi. */
	hook_notify(HOOK_INIT);

	/* Check if CBI write worked. */
	zassert_ok(cros_cbi_get_fw_config(FORM_FACTOR, &val), NULL);
	zassert_equal(CONVERTIBLE, val, "val=%d", val);
	zassert_ok(cros_cbi_get_fw_config(BASE_SENSOR, &val), NULL);
	zassert_equal(BASE_ICM42607, val, "val=%d", val);
	zassert_ok(cros_cbi_get_fw_config(LID_SENSOR, &val), NULL);
	zassert_equal(LID_LIS2DWLTR, val, "val=%d", val);
}

ZTEST_SUITE(tentacruel_main_sensor, NULL, NULL, main_sensor_reset, NULL,
	    teardown);

static void alt_sensor_reset(void *fixture)
{
	uint32_t val;

	RESET_FAKE(cros_cbi_get_fw_config);

	base_interrupt_id = 0;
	lid_interrupt_id = 0;
	interrupt_count = 0;

	cros_cbi_get_fw_config_fake.custom_fake = mock_cros_cbi_get_fw_config;

	fake_form_factor = CONVERTIBLE;
	fake_base_sensor = BASE_BMI323;
	fake_lid_sensor = LID_BMA422;

	/* Run init hooks to initialize cbi. */
	hook_notify(HOOK_INIT);

	/* Check if CBI write worked. */
	zassert_ok(cros_cbi_get_fw_config(FORM_FACTOR, &val), NULL);
	zassert_equal(CONVERTIBLE, val, "val=%d", val);
	zassert_ok(cros_cbi_get_fw_config(BASE_SENSOR, &val), NULL);
	zassert_equal(BASE_BMI323, val, "val=%d", val);
	zassert_ok(cros_cbi_get_fw_config(LID_SENSOR, &val), NULL);
	zassert_equal(LID_BMA422, val, "val=%d", val);
}

ZTEST_SUITE(tentacruel_alt_sensor, NULL, NULL, alt_sensor_reset, NULL,
	    teardown);

/* Main gyro sensor. */
void icm42607_interrupt(enum gpio_signal signal)
{
	base_interrupt_id = 1;
	interrupt_count++;
}

void bmi3xx_interrupt(enum gpio_signal signal)
{
	base_interrupt_id = 2;
	interrupt_count++;
}

/* Main lid sensor. */
void lis2dw12_interrupt(enum gpio_signal signal)
{
	lid_interrupt_id = 1;
	interrupt_count++;
}

void bma4xx_interrupt(enum gpio_signal signal)
{
	lid_interrupt_id = 2;
	interrupt_count++;
}

ZTEST(tentacruel_clamshell, test_tabletmode_disable)
{
	const struct device *tablet_mode_gpio =
		DEVICE_DT_GET(DT_GPIO_CTLR(DT_NODELABEL(tablet_mode_l), gpios));
	const gpio_port_pins_t tablet_mode_pin =
		DT_GPIO_PIN(DT_NODELABEL(tablet_mode_l), gpios);

	/* Verify gmr_tablet_switch is disabled, by checking the side effects
	 * of calling tablet_set_mode, and setting gpio_tablet_mode_l.
	 */
	zassert_ok(gpio_emul_input_set(tablet_mode_gpio, tablet_mode_pin, 0),
		   NULL);
	k_sleep(K_MSEC(100));
	tablet_set_mode(1, TABLET_TRIGGER_LID);
	zassert_equal(0, tablet_get_mode(), NULL);
	zassert_ok(gpio_emul_input_set(tablet_mode_gpio, tablet_mode_pin, 1),
		   NULL);
	k_sleep(K_MSEC(100));
	tablet_set_mode(0, TABLET_TRIGGER_LID);
	zassert_equal(0, tablet_get_mode(), NULL);
	zassert_ok(gpio_emul_input_set(tablet_mode_gpio, tablet_mode_pin, 0),
		   NULL);
	k_sleep(K_MSEC(100));
	tablet_set_mode(1, TABLET_TRIGGER_LID);
	zassert_equal(0, tablet_get_mode(), NULL);
}

ZTEST(tentacruel_clamshell, test_irq_disable)
{
	const struct device *base_imu_gpio = DEVICE_DT_GET(
		DT_GPIO_CTLR(DT_NODELABEL(base_imu_int_l), gpios));
	const gpio_port_pins_t base_imu_pin =
		DT_GPIO_PIN(DT_NODELABEL(base_imu_int_l), gpios);

	zassert_ok(gpio_emul_input_set(base_imu_gpio, base_imu_pin, 1), NULL);
	k_sleep(K_MSEC(100));
	zassert_ok(gpio_emul_input_set(base_imu_gpio, base_imu_pin, 0), NULL);
	k_sleep(K_MSEC(100));

	zassert_equal(base_interrupt_id, 0, "base_interrupt_id=%d",
		      base_interrupt_id);
	zassert_equal(interrupt_count, 0, "unexpected interrupt count: %d",
		      interrupt_count);

	const struct device *lid_imu_gpio = DEVICE_DT_GET(
		DT_GPIO_CTLR(DT_NODELABEL(lid_accel_int_l), gpios));
	const gpio_port_pins_t lid_imu_pin =
		DT_GPIO_PIN(DT_NODELABEL(lid_accel_int_l), gpios);

	zassert_ok(gpio_emul_input_set(lid_imu_gpio, lid_imu_pin, 1), NULL);
	k_sleep(K_MSEC(100));
	zassert_ok(gpio_emul_input_set(lid_imu_gpio, lid_imu_pin, 0), NULL);
	k_sleep(K_MSEC(100));

	zassert_equal(lid_interrupt_id, 0, "lid_interrupt_id=%d",
		      lid_interrupt_id);
	zassert_equal(interrupt_count, 0, "unexpected interrupt count: %d",
		      interrupt_count);
}

ZTEST(tentacruel_main_sensor, test_tentacruel_main_sensor)
{
	const struct device *base_imu_gpio = DEVICE_DT_GET(
		DT_GPIO_CTLR(DT_NODELABEL(base_imu_int_l), gpios));
	const gpio_port_pins_t base_imu_pin =
		DT_GPIO_PIN(DT_NODELABEL(base_imu_int_l), gpios);

	zassert_ok(gpio_emul_input_set(base_imu_gpio, base_imu_pin, 1), NULL);
	k_sleep(K_MSEC(100));
	zassert_ok(gpio_emul_input_set(base_imu_gpio, base_imu_pin, 0), NULL);
	k_sleep(K_MSEC(100));

	zassert_equal(base_interrupt_id, 1, "base_interrupt_id=%d",
		      base_interrupt_id);
	zassert_equal(interrupt_count, 1, "unexpected interrupt count: %d",
		      interrupt_count);

	const struct device *lid_imu_gpio = DEVICE_DT_GET(
		DT_GPIO_CTLR(DT_NODELABEL(lid_accel_int_l), gpios));
	const gpio_port_pins_t lid_imu_pin =
		DT_GPIO_PIN(DT_NODELABEL(lid_accel_int_l), gpios);

	zassert_ok(gpio_emul_input_set(lid_imu_gpio, lid_imu_pin, 1), NULL);
	k_sleep(K_MSEC(100));
	zassert_ok(gpio_emul_input_set(lid_imu_gpio, lid_imu_pin, 0), NULL);
	k_sleep(K_MSEC(100));

	zassert_equal(lid_interrupt_id, 1, "lid_interrupt_id=%d",
		      lid_interrupt_id);
	zassert_equal(interrupt_count, 2, "unexpected interrupt count: %d",
		      interrupt_count);
}

ZTEST(tentacruel_alt_sensor, test_tentacruel_alt_sensor)
{
	const struct device *base_imu_gpio = DEVICE_DT_GET(
		DT_GPIO_CTLR(DT_NODELABEL(base_imu_int_l), gpios));
	const gpio_port_pins_t base_imu_pin =
		DT_GPIO_PIN(DT_NODELABEL(base_imu_int_l), gpios);

	zassert_ok(gpio_emul_input_set(base_imu_gpio, base_imu_pin, 1), NULL);
	k_sleep(K_MSEC(100));
	zassert_ok(gpio_emul_input_set(base_imu_gpio, base_imu_pin, 0), NULL);
	k_sleep(K_MSEC(100));

	zassert_equal(base_interrupt_id, 2, "base_interrupt_id=%d",
		      base_interrupt_id);
	zassert_equal(interrupt_count, 1, "unexpected interrupt count: %d",
		      interrupt_count);

	const struct device *lid_imu_gpio = DEVICE_DT_GET(
		DT_GPIO_CTLR(DT_NODELABEL(lid_accel_int_l), gpios));
	const gpio_port_pins_t lid_imu_pin =
		DT_GPIO_PIN(DT_NODELABEL(lid_accel_int_l), gpios);

	zassert_ok(gpio_emul_input_set(lid_imu_gpio, lid_imu_pin, 1), NULL);
	k_sleep(K_MSEC(100));
	zassert_ok(gpio_emul_input_set(lid_imu_gpio, lid_imu_pin, 0), NULL);
	k_sleep(K_MSEC(100));

	zassert_equal(lid_interrupt_id, 2, "lid_interrupt_id=%d",
		      lid_interrupt_id);
	zassert_equal(interrupt_count, 2, "unexpected interrupt count: %d",
		      interrupt_count);
}

ZTEST(tentacruel_alt_sensor, test_tentacruel_alt_sensor_cbi_fail_form_factor)
{
	const struct device *base_imu_gpio = DEVICE_DT_GET(
		DT_GPIO_CTLR(DT_NODELABEL(base_imu_int_l), gpios));
	const gpio_port_pins_t base_imu_pin =
		DT_GPIO_PIN(DT_NODELABEL(base_imu_int_l), gpios);

	fake_form_factor = -1;
	hook_notify(HOOK_INIT);

	zassert_ok(gpio_emul_input_set(base_imu_gpio, base_imu_pin, 1), NULL);
	k_sleep(K_MSEC(100));
	zassert_ok(gpio_emul_input_set(base_imu_gpio, base_imu_pin, 0), NULL);
	k_sleep(K_MSEC(100));

	zassert_equal(base_interrupt_id, 0, "base_interrupt_id=%d",
		      base_interrupt_id);
	zassert_equal(interrupt_count, 0, "unexpected interrupt count: %d",
		      interrupt_count);

	const struct device *lid_imu_gpio = DEVICE_DT_GET(
		DT_GPIO_CTLR(DT_NODELABEL(lid_accel_int_l), gpios));
	const gpio_port_pins_t lid_imu_pin =
		DT_GPIO_PIN(DT_NODELABEL(lid_accel_int_l), gpios);

	zassert_ok(gpio_emul_input_set(lid_imu_gpio, lid_imu_pin, 1), NULL);
	k_sleep(K_MSEC(100));
	zassert_ok(gpio_emul_input_set(lid_imu_gpio, lid_imu_pin, 0), NULL);
	k_sleep(K_MSEC(100));

	zassert_equal(lid_interrupt_id, 0, "lid_interrupt_id=%d",
		      lid_interrupt_id);
	zassert_equal(interrupt_count, 0, "unexpected interrupt count: %d",
		      interrupt_count);
}

ZTEST(tentacruel_alt_sensor, test_tentacruel_alt_sensor_cbi_fail_lid)
{
	const struct device *base_imu_gpio = DEVICE_DT_GET(
		DT_GPIO_CTLR(DT_NODELABEL(base_imu_int_l), gpios));
	const gpio_port_pins_t base_imu_pin =
		DT_GPIO_PIN(DT_NODELABEL(base_imu_int_l), gpios);

	fake_lid_sensor = -1;
	hook_notify(HOOK_INIT);

	zassert_ok(gpio_emul_input_set(base_imu_gpio, base_imu_pin, 1), NULL);
	k_sleep(K_MSEC(100));
	zassert_ok(gpio_emul_input_set(base_imu_gpio, base_imu_pin, 0), NULL);
	k_sleep(K_MSEC(100));

	zassert_equal(base_interrupt_id, 2, "base_interrupt_id=%d",
		      base_interrupt_id);
	zassert_equal(interrupt_count, 1, "unexpected interrupt count: %d",
		      interrupt_count);

	const struct device *lid_imu_gpio = DEVICE_DT_GET(
		DT_GPIO_CTLR(DT_NODELABEL(lid_accel_int_l), gpios));
	const gpio_port_pins_t lid_imu_pin =
		DT_GPIO_PIN(DT_NODELABEL(lid_accel_int_l), gpios);

	zassert_ok(gpio_emul_input_set(lid_imu_gpio, lid_imu_pin, 1), NULL);
	k_sleep(K_MSEC(100));
	zassert_ok(gpio_emul_input_set(lid_imu_gpio, lid_imu_pin, 0), NULL);
	k_sleep(K_MSEC(100));

	zassert_equal(lid_interrupt_id, 0, "lid_interrupt_id=%d",
		      lid_interrupt_id);
	zassert_equal(interrupt_count, 1, "unexpected interrupt count: %d",
		      interrupt_count);
}

ZTEST(tentacruel_alt_sensor, test_tentacruel_alt_sensor_cbi_fail_base)
{
	const struct device *base_imu_gpio = DEVICE_DT_GET(
		DT_GPIO_CTLR(DT_NODELABEL(base_imu_int_l), gpios));
	const gpio_port_pins_t base_imu_pin =
		DT_GPIO_PIN(DT_NODELABEL(base_imu_int_l), gpios);

	fake_base_sensor = -1;
	hook_notify(HOOK_INIT);

	zassert_ok(gpio_emul_input_set(base_imu_gpio, base_imu_pin, 1), NULL);
	k_sleep(K_MSEC(100));
	zassert_ok(gpio_emul_input_set(base_imu_gpio, base_imu_pin, 0), NULL);
	k_sleep(K_MSEC(100));

	zassert_equal(base_interrupt_id, 0, "base_interrupt_id=%d",
		      base_interrupt_id);
	zassert_equal(interrupt_count, 0, "unexpected interrupt count: %d",
		      interrupt_count);

	const struct device *lid_imu_gpio = DEVICE_DT_GET(
		DT_GPIO_CTLR(DT_NODELABEL(lid_accel_int_l), gpios));
	const gpio_port_pins_t lid_imu_pin =
		DT_GPIO_PIN(DT_NODELABEL(lid_accel_int_l), gpios);

	zassert_ok(gpio_emul_input_set(lid_imu_gpio, lid_imu_pin, 1), NULL);
	k_sleep(K_MSEC(100));
	zassert_ok(gpio_emul_input_set(lid_imu_gpio, lid_imu_pin, 0), NULL);
	k_sleep(K_MSEC(100));

	zassert_equal(lid_interrupt_id, 2, "lid_interrupt_id=%d",
		      lid_interrupt_id);
	zassert_equal(interrupt_count, 1, "unexpected interrupt count: %d",
		      interrupt_count);
}
```
